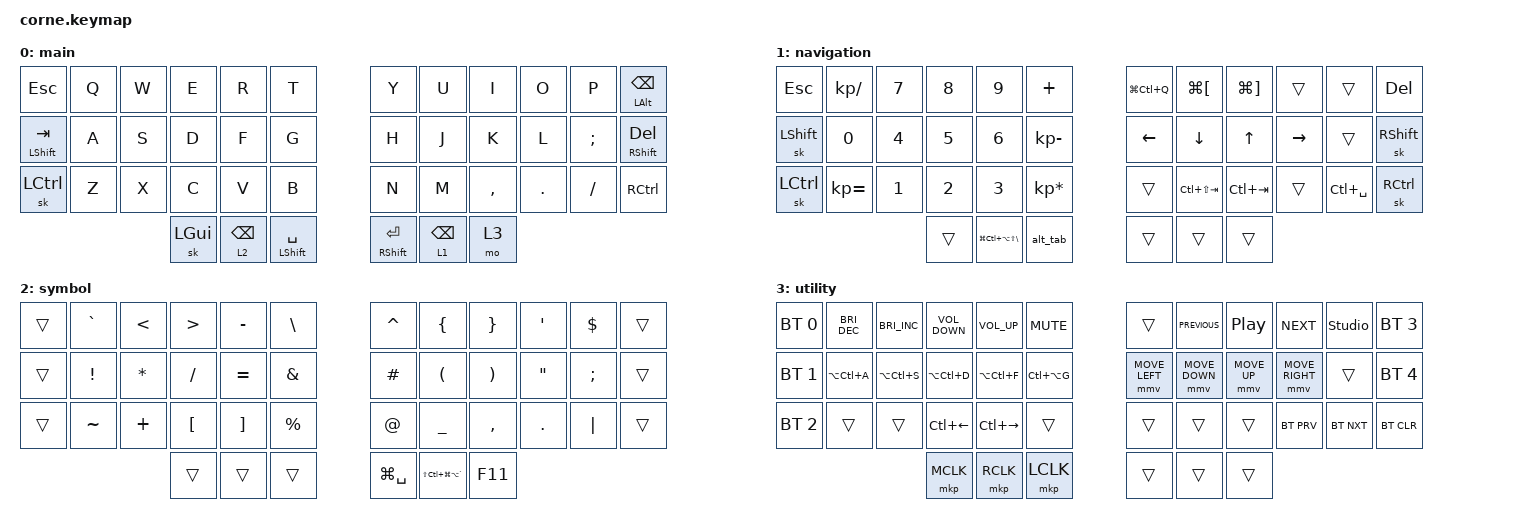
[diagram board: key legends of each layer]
/*
 * Copyright (c) 2020 The ZMK Contributors
 *
 * SPDX-License-Identifier: MIT
 */

#include <behaviors.dtsi>
#include <dt-bindings/zmk/bt.h>
#include <dt-bindings/zmk/keys.h>
#include <dt-bindings/zmk/pointing.h>

/ {
    combos {
        compatible = "zmk,combos";

        delete_all {
            bindings = <&delete_all>;
            key-positions = <37 40>;
        };

        undo {
            bindings = <&kp LG(Z)>;
            key-positions = <38 39>;
        };

        caps_lock {
            bindings = <&kp CAPSLOCK>;
            key-positions = <12 23>;
        };
    };

    macros {
        alt_tab: new_macro {
            compatible = "zmk,behavior-macro";
            #binding-cells = <0>;
            bindings =
                <&macro_press>,
                <&kp LEFT_GUI>,
                <&macro_tap>,
                <&kp TAB>,
                <&macro_pause_for_release>,
                <&macro_release>,
                <&kp LEFT_GUI>;

            label = "NEW_MACRO";
        };

        delete_all: delete_all {
            compatible = "zmk,behavior-macro";
            #binding-cells = <0>;
            bindings = <&macro_press>, <&kp LG(A) &kp BACKSPACE>;

            label = "DELETE_ALL";
        };
    };

    keymap {
        compatible = "zmk,keymap";

        main {
            // -----------------------------------------------------------------------------------------
            // |  TAB |  Q  |  W  |  E  |  R  |  T  |   |  Y  |  U   |  I  |  O  |  P  | BKSP |
            // | CTRL |  A  |  S  |  D  |  F  |  G  |   |  H  |  J   |  K  |  L  |  ;  |  '   |
            // | SHFT |  Z  |  X  |  C  |  V  |  B  |   |  N  |  M   |  ,  |  .  |  /  | ESC  |
            //                    | GUI | LWR | SPC |   | ENT | RSE  | ALT |

            bindings = <
&kp ESCAPE          &kp Q  &kp W  &kp E     &kp R            &kp T                   &kp Y                  &kp U            &kp I      &kp O    &kp P     &mt LEFT_ALT BACKSPACE
&mt LEFT_SHIFT TAB  &kp A  &kp S  &kp D     &kp F            &kp G                   &kp H                  &kp J            &kp K      &kp L    &kp SEMI  &mt RIGHT_SHIFT DELETE
&sk LEFT_CONTROL    &kp Z  &kp X  &kp C     &kp V            &kp B                   &kp N                  &kp M            &kp COMMA  &kp DOT  &kp FSLH  &kp RIGHT_CONTROL
                                  &sk LGUI  &lt 2 BACKSPACE  &mt LEFT_SHIFT SPACE    &mt RIGHT_SHIFT ENTER  &lt 1 BACKSPACE  &mo 3
            >;
        };

        navigation {
            // -----------------------------------------------------------------------------------------
            // |  TAB |  1  |  2  |  3  |  4  |  5  |   |  6  |  7  |  8  |  9  |  0  | BKSP |
            // | BTCLR| BT1 | BT2 | BT3 | BT4 | BT5 |   | LFT | DWN |  UP | RGT |     |      |
            // | SHFT |     |     |     |     |     |   |     |     |     |     |     |      |
            //                    | GUI |     | SPC |   | ENT |     | ALT |

            bindings = <
&kp ESCAPE      &kp KP_DIVIDE  &kp N7        &kp N8  &kp N9                         &kp PLUS           &kp LG(LC(Q))   &kp LG(LEFT_BRACKET)  &kp LG(RIGHT_BRACKET)  &trans           &trans         &kp DEL
&sk LEFT_SHIFT  &kp NUMBER_0   &kp NUMBER_4  &kp N5  &kp NUMBER_6                   &kp KP_SUBTRACT    &kp LEFT_ARROW  &kp DOWN_ARROW        &kp UP_ARROW           &kp RIGHT_ARROW  &trans         &sk RIGHT_SHIFT
&sk LCTRL       &kp KP_EQUAL   &kp N1        &kp N2  &kp N3                         &kp KP_MULTIPLY    &trans          &kp LC(LS(TAB))       &kp LC(TAB)            &trans           &kp LC(SPACE)  &sk RCTRL
                                             &trans  &kp LG(LC(LA(LS(BACKSLASH))))  &alt_tab           &trans          &trans                &trans
            >;
        };

        symbol {
            // -----------------------------------------------------------------------------------------
            // |  TAB |  !  |  @  |  #  |  $  |  %  |   |  ^  |  &  |  *  |  (  |  )  | BKSP |
            // | CTRL |     |     |     |     |     |   |  -  |  =  |  [  |  ]  |  \  |  `   |
            // | SHFT |     |     |     |     |     |   |  _  |  +  |  {  |  }  | "|" |  ~   |
            //                    | GUI |     | SPC |   | ENT |     | ALT |

            bindings = <
&trans  &kp GRAVE        &kp LESS_THAN  &kp GREATER_THAN  &kp MINUS          &kp BACKSLASH    &kp CARET      &kp LEFT_BRACE             &kp RIGHT_BRACE        &kp SINGLE_QUOTE   &kp DOLLAR  &trans
&trans  &kp EXCLAMATION  &kp ASTERISK   &kp SLASH         &kp EQUAL          &kp AMPERSAND    &kp HASH       &kp LEFT_PARENTHESIS       &kp RIGHT_PARENTHESIS  &kp DOUBLE_QUOTES  &kp SEMI    &trans
&trans  &kp TILDE        &kp PLUS       &kp LEFT_BRACKET  &kp RIGHT_BRACKET  &kp PERCENT      &kp AT         &kp UNDERSCORE             &kp COMMA              &kp PERIOD         &kp PIPE    &trans
                                        &trans            &trans             &trans           &kp LG(SPACE)  &kp LS(LC(LG(LA(GRAVE))))  &kp F11
            >;
        };

        utility {
            bindings = <
&bt BT_SEL 0  &kp C_BRIGHTNESS_DEC  &kp C_BRIGHTNESS_INC  &kp C_VOLUME_DOWN   &kp C_VOLUME_UP      &kp C_MUTE       &trans          &kp C_PREVIOUS  &kp C_PLAY_PAUSE  &kp C_NEXT       &studio_unlock  &bt BT_SEL 3
&bt BT_SEL 1  &kp LA(LC(A))         &kp LA(LC(S))         &kp LA(LC(D))       &kp LA(LC(F))        &kp LC(LA(G))    &mmv MOVE_LEFT  &mmv MOVE_DOWN  &mmv MOVE_UP      &mmv MOVE_RIGHT  &trans          &bt BT_SEL 4
&bt BT_SEL 2  &trans                &trans                &kp LC(LEFT_ARROW)  &kp LC(RIGHT_ARROW)  &trans           &trans          &trans          &trans            &bt BT_PRV       &bt BT_NXT      &bt BT_CLR
                                                          &mkp MCLK           &mkp RCLK            &mkp LCLK        &trans          &trans          &trans
            >;
        };
    };
};
